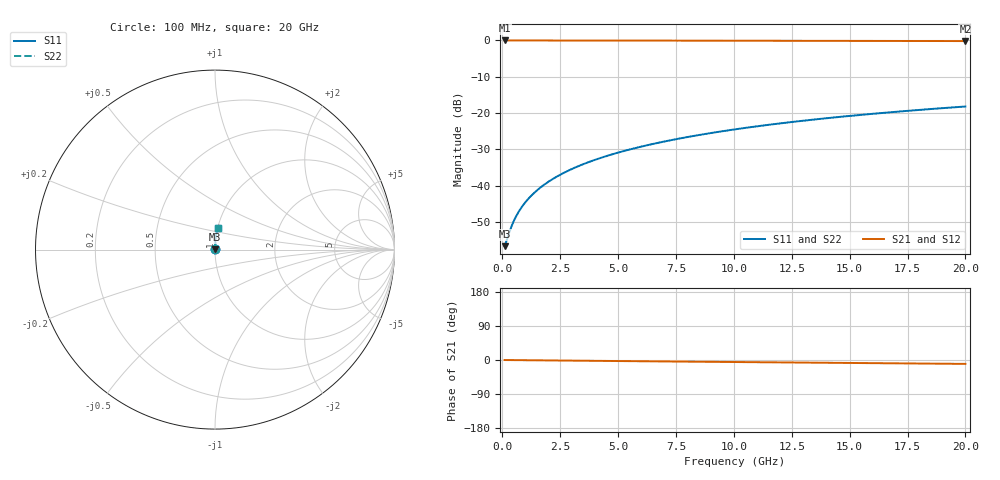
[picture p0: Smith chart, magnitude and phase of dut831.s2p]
! Touchstone file exported from HFSS 2024.1.0
!  File:  C:/UserFiles/LocalFiles/RDL_TSV_Batchsim/temp_RDL_bottom_831_1779863231.aedt
!  Generated:  02:29:54 PM May 27, 2026
!  Design:  RDL_bottom
!  Project:  temp_RDL_bottom_831_1779863231
!  Setup:  Setup1
!  Solution:  Sweep
! Variables:
!  dtsv = 10.80580581um
!  hbump = 3um
!  htsv = 92.39um
!  ldown = 109.88um
!  lrdl = 100um
!  p = 40
!  p1 = 42.82um
!  rhole = 1um
!  t = 450um
!  tdown = 2.11um
!  trdl = 3.915915916um
!  wdown = 19.57um
!  wrdl = 20um
# GHz S MA R 50.000000
! Terminal data exported
! Port[1] = RDL1_T1
! Port[2] = RDL1_T2
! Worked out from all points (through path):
!   200 points, 100 MHz to 20 GHz, reference 50 ohm
!   highest |S21| = -0.01 dB at 100 MHz (marker M1); lowest = -0.2 dB at 20 GHz (marker M2)
!   group delay of S21, straight-line fit = 1.42 ps
!   lowest |S11| = -56.6 dB at 100 MHz (marker M3), VSWR 1.00, Z = 50.1 + j0.0609 ohm
!   |S11| at or under -10 dB: start of sweep to end of sweep
!   |S22| runs from -56.6 to -18.2 dB; largest |S21 - S12| = 3e-15
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0.1  0.00148 24.2  0.9986 -0.1  0.9986 -0.1  0.00148 24.2
! Gamma 0 0 0 0
! Port Impedance 50 0 50 0
0.3  0.002279 52.3  0.9986 -0.2  0.9986 -0.2  0.002279 52.3
0.4  0.00278 59.2  0.9986 -0.2  0.9986 -0.2  0.00278 59.2
0.5  0.0033 63.8  0.9985 -0.3  0.9985 -0.3  0.0033 63.8
0.6  0.003828 67.2  0.9985 -0.3  0.9985 -0.3  0.003828 67.2
0.7  0.00436 69.7  0.9984 -0.4  0.9984 -0.4  0.00436 69.7
0.9  0.005429 73.4  0.9983 -0.5  0.9983 -0.5  0.005429 73.4
1.2  0.007044 77.0  0.9982 -0.7  0.9982 -0.7  0.007044 77.0
1.4  0.008129 78.7  0.9981 -0.8  0.9981 -0.8  0.008129 78.7
1.7  0.009769 80.6  0.998 -1.0  0.998 -1.0  0.009769 80.6
2.2  0.01253 82.8  0.9978 -1.2  0.9978 -1.2  0.01253 82.8
2.8  0.0159 84.5  0.9974 -1.6  0.9974 -1.6  0.0159 84.5
3.5  0.01988 85.8  0.997 -2.0  0.997 -2.0  0.01988 85.8
4.2  0.02394 86.6  0.9964 -2.3  0.9964 -2.3  0.02394 86.6
5  0.02864 87.3  0.9957 -2.8  0.9957 -2.8  0.02864 87.3
5.9  0.03403 87.7  0.9949 -3.2  0.9949 -3.2  0.03403 87.7
6.8  0.0395 87.9  0.994 -3.7  0.994 -3.7  0.0395 87.9
8.4  0.04942 87.8  0.9923 -4.5  0.9923 -4.5  0.04942 87.8
10.1  0.06015 87.4  0.9905 -5.4  0.9905 -5.4  0.06015 87.4
13.4  0.08125 86.1  0.9868 -7.1  0.9868 -7.1  0.08125 86.1
16.7  0.1024 84.4  0.9831 -8.7  0.9831 -8.7  0.1024 84.4
20  0.1233 82.6  0.9793 -10.3  0.9793 -10.3  0.1233 82.6
